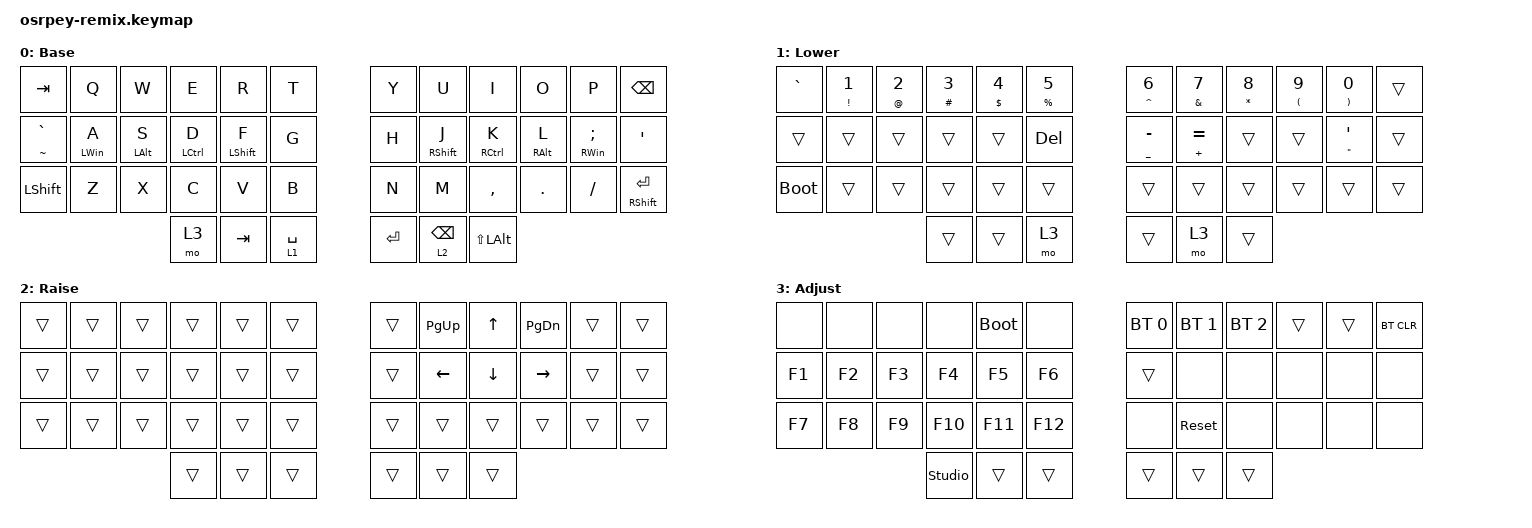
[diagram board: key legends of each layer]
#include <behaviors.dtsi>
#include <dt-bindings/zmk/bt.h>
#include <dt-bindings/zmk/keys.h>

&mt {
    flavor = "balanced";
    tapping-term-ms = <250>;
};

/ {
    combos {
        compatible = "zmk,combos";

        lbkt {
            bindings = <&kp LEFT_BRACKET>;
            key-positions = <3 4>;
        };

        rbkt {
            bindings = <&kp RIGHT_BRACKET>;
            key-positions = <7 8>;
        };

        lpar {
            bindings = <&kp LEFT_PARENTHESIS>;
            key-positions = <15 16>;
        };

        rpar {
            bindings = <&kp RIGHT_PARENTHESIS>;
            key-positions = <19 20>;
        };

        lbra {
            bindings = <&kp LEFT_BRACE>;
            key-positions = <27 28>;
        };

        rbra {
            bindings = <&kp RIGHT_BRACE>;
            key-positions = <31 32>;
        };

        pipe {
            bindings = <&kp PIPE>;
            key-positions = <5 6>;
        };

        blsh {
            bindings = <&kp BSLH>;
            key-positions = <17 18>;
        };

        enter {
            bindings = <&kp ENTER>;
            key-positions = <21 22>;
        };
    };

    behaviors {
        hm: homerow_mods {
            compatible = "zmk,behavior-hold-tap";
            label = "HM";
            bindings = <&kp>, <&kp>;

            #binding-cells = <2>;
            tapping-term-ms = <200>;
            quick-tap-ms = <180>;
            flavor = "tap-preferred";
        };

        as: auto_shift {
            compatible = "zmk,behavior-hold-tap";
            label = "AS";
            bindings = <&kp>, <&kp>;

            #binding-cells = <2>;
            tapping-term-ms = <135>;
            quick-tap-ms = <0>;
        };
    };

    keymap {
        compatible = "zmk,keymap";

        default_layer {
            display-name = "Base";
            bindings = <
&kp TAB          &kp Q           &kp W           &kp E        &kp R             &kp T        &kp Y      &kp U              &kp I             &kp O            &kp P               &kp BACKSPACE
&as TILDE GRAVE  &hm LEFT_WIN A  &hm LEFT_ALT S  &hm LCTRL D  &hm LEFT_SHIFT F  &kp G        &kp H      &hm RIGHT_SHIFT J  &hm RCTRL K       &hm RIGHT_ALT L  &hm RIGHT_WIN SEMI  &kp SQT
&kp LSHFT        &kp Z           &kp X           &kp C        &kp V             &kp B        &kp N      &kp M              &kp COMMA         &kp DOT          &kp FSLH            &mt RSHFT ENTER
                                                 &mo 3        &kp TAB           &lt 1 SPACE  &kp ENTER  &lt 2 BACKSPACE    &kp LS(LEFT_ALT)
            >;
        };

        lower_layer {
            display-name = "Lower";
            bindings = <
&kp GRAVE    &as EXCL NUMBER_1  &as AT NUMBER_2  &as HASH NUMBER_3  &as DLLR NUMBER_4  &as PRCNT N5  &as CARET NUMBER_6  &as AMPS N7     &as ASTRK N8  &as LPAR N9  &as RPAR N0  &trans
&trans       &trans             &trans           &trans             &trans             &kp DEL       &as UNDER MINUS     &as PLUS EQUAL  &trans        &trans       &as DQT SQT  &trans
&bootloader  &trans             &trans           &trans             &trans             &trans        &trans              &trans          &trans        &trans       &trans       &trans
                                                 &trans             &trans             &mo 3         &trans              &mo 3           &trans
            >;
        };

        raise_layer {
            display-name = "Raise";
            bindings = <
&trans  &trans  &trans  &trans  &trans  &trans  &trans  &kp PAGE_UP     &kp UP_ARROW    &kp PAGE_DOWN  &trans  &trans
&trans  &trans  &trans  &trans  &trans  &trans  &trans  &kp LEFT_ARROW  &kp DOWN_ARROW  &kp RIGHT      &trans  &trans
&trans  &trans  &trans  &trans  &trans  &trans  &trans  &trans          &trans          &trans         &trans  &trans
                        &trans  &trans  &trans  &trans  &trans          &trans
            >;
        };

        adjust_layer {
            display-name = "Adjust";
            bindings = <
&none   &none   &none   &none           &bootloader  &none    &bt BT_SEL 0  &bt BT_SEL 1  &bt BT_SEL 2  &trans  &trans  &bt BT_CLR
&kp F1  &kp F2  &kp F3  &kp F4          &kp F5       &kp F6   &trans        &none         &none         &none   &none   &none
&kp F7  &kp F8  &kp F9  &kp F10         &kp F11      &kp F12  &none         &sys_reset    &none         &none   &none   &none
                        &studio_unlock  &trans       &trans   &trans        &trans        &trans
            >;
        };
    };
};
